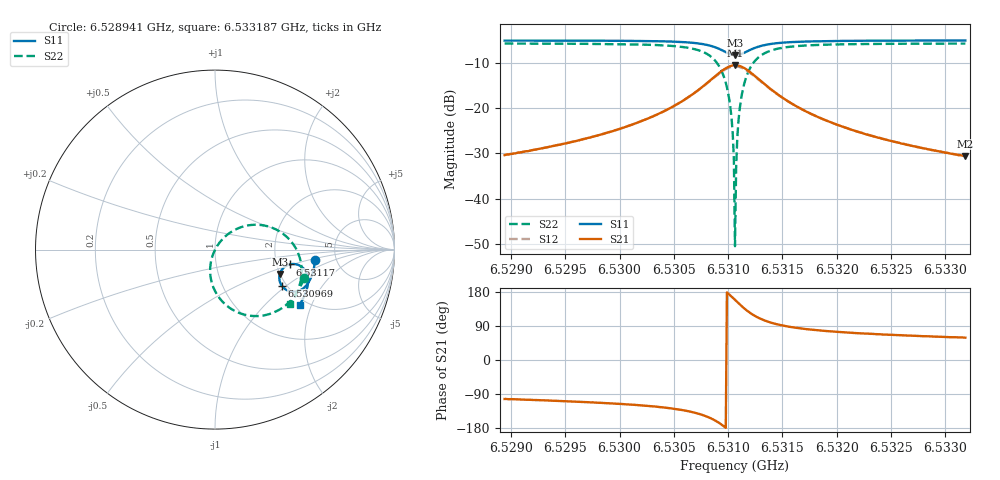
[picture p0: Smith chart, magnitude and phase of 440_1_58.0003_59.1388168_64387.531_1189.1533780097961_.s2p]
#  HZ  S  RI  R  50.00
! Rohde & Schwarz Vector Network Analyzer
! Rohde-Schwarz,ZNB20-2Port,1311601062101988,3.16
! Created: UTC 3/21/2024, 1:10:00 AM
! freq[Hz]  re:S11  im:S11  re:S21  im:S21  re:S12  im:S12  re:S22  im:S22
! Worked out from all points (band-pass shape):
!   401 points, 6.528941 GHz to 6.533187 GHz, reference 50 ohm
!   highest |S21| = -10.47 dB at 6.531064 GHz (marker M1); lowest = -30.6 dB at 6.533187 GHz (marker M2)
!   |S21| within 3 dB of the highest: 6.530853 GHz to 6.531278 GHz (424.3 kHz wide, 0.0065 % of centre)
!   lowest |S11| = -8.3 dB at 6.531064 GHz (marker M3), VSWR 2.26, Z = 99.9 - j31.7 ohm
!   |S11| at or under -10 dB: nowhere
!   |S22| runs from -50.5 to -5.7 dB; largest |S21 - S12| = 0.011
!   S11 on the Smith chart (normalised r, x): 6.528941 GHz: 3.45, -0.57; 6.530969 GHz: 1.89, -0.93; 6.53117 GHz: 2.35, -0.47; 6.533187 GHz: 1.82, -1.65
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6.5289412e9  0.5582 -0.0564  -0.00673 -0.0295  -0.00733 -0.0295  0.4953 -0.1593
6.5296524e9  0.5482 -0.1152  -0.0158 -0.0421  -0.0168 -0.0419  0.4655 -0.225
6.5303635e9  0.5202 -0.1847  -0.0486 -0.0723  -0.0507 -0.0711  0.3862 -0.3167
6.5307881e9  0.4509 -0.2339  -0.1538 -0.098  -0.156 -0.0919  0.1842 -0.3668
6.5308942e9  0.4071 -0.2291  -0.2215 -0.0727  -0.2209 -0.0637  0.0681 -0.3146
6.5309685e9  0.373 -0.2027  -0.2717 -0.016  -0.2666 -0.0065  -0.00904 -0.2112
6.5310004e9  0.3627 -0.1831  -0.2854 0.0216  -0.2778 0.0299  -0.0256 -0.1462
6.5310216e9  0.359 -0.1679  -0.2888 0.0501  -0.2799 0.057  -0.0267 -0.0986
6.5310322e9  0.3583 -0.1597  -0.2885 0.0648  -0.2791 0.0711  -0.0239 -0.0741
6.5310428e9  0.3584 -0.1515  -0.2867 0.0797  -0.2769 0.0852  -0.0187 -0.0499
6.5310534e9  0.3595 -0.1432  -0.2835 0.0946  -0.2734 0.099  -0.011 -0.026
6.531064e9  0.3614 -0.1352  -0.2788 0.1091  -0.2684 0.1128  -0.00082 -0.00286
6.5310747e9  0.3643 -0.1272  -0.2726 0.1232  -0.2622 0.1257  0.0115 0.0194
6.5310853e9  0.3678 -0.1198  -0.2652 0.1365  -0.2549 0.1381  0.0259 0.0398
6.5310959e9  0.3722 -0.1127  -0.2564 0.1487  -0.2463 0.1496  0.0421 0.0588
6.5311171e9  0.3828 -0.1006  -0.2361 0.1701  -0.2268 0.1694  0.0788 0.091
6.5311702e9  0.4151 -0.0827  -0.1771 0.202  -0.1707 0.1991  0.1812 0.1343
6.5312445e9  0.4571 -0.0831  -0.1034 0.2046  -0.1002 0.2016  0.3059 0.1261
6.5313506e9  0.4935 -0.1053  -0.0395 0.1743  -0.0382 0.1729  0.4101 0.0613
6.5317752e9  0.5183 -0.1847  0.0151 0.0842  0.016 0.084  0.4829 -0.1278
6.5324863e9  0.4985 -0.2562  0.0175 0.0403  0.0182 0.0401  0.4552 -0.2444
6.5331869e9  0.4713 -0.3081  0.0153 0.0253  0.0156 0.0251  0.4204 -0.3058
